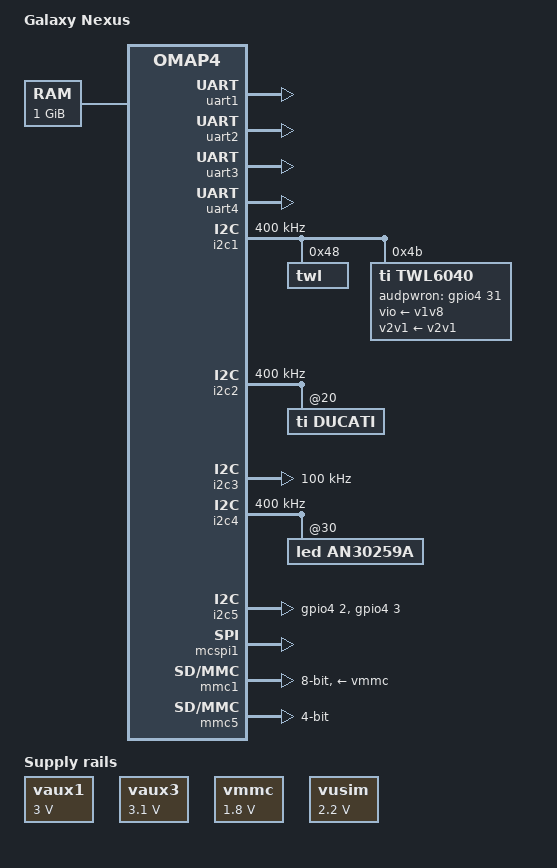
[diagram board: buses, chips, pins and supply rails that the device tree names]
/*
 * Copyright (C) 2011 Texas Instruments Incorporated - http://www.ti.com/
 *
 * This program is free software; you can redistribute it and/or modify
 * it under the terms of the GNU General Public License version 2 as
 * published by the Free Software Foundation.
 */
/dts-v1/;

/include/ "omap4460.dtsi"
/include/ "samsung_k3pe7e700m.dtsi"

/ {
	model = "Galaxy Nexus";
	compatible = "ti,tuna", "ti,omap4430", "ti,omap4";

	memory {
		device_type = "memory";
		reg = <0x80000000 0x40000000>; /* 1 GB */
	};

        chosen {
                bootargs = "console=ttyO2 androidboot.console=ttyO2 androidboot.hardware=tuna mem=1G vmalloc=768M omap_wdt.timer_margin=30 no_console_suspend earlyprintk debug initcall_debug";
	};

	sound {
		compatible = "ti,abe-twl6040";
		ti,model = "SDP4430";

		ti,jack-detection = <1>;
		ti,mclk-freq = <38400000>;

		ti,mcpdm = <&mcpdm>;
		ti,dmic = <&dmic>;

		ti,twl6040 = <&twl6040>;

		/* Audio routing */
		ti,audio-routing =
			"Headset Stereophone", "HSOL",
			"Headset Stereophone", "HSOR",
			"Earphone Spk", "EP",
			"Ext Spk", "HFL",
			"Ext Spk", "HFR",
			"Line Out", "AUXL",
			"Line Out", "AUXR",
			"Vibrator", "VIBRAL",
			"Vibrator", "VIBRAR",
			"HSMIC", "Headset Mic",
			"Headset Mic", "Headset Mic Bias",
			"MAINMIC", "Main Handset Mic",
			"Main Handset Mic", "Main Mic Bias",
			"SUBMIC", "Sub Handset Mic",
			"Sub Handset Mic", "Main Mic Bias",
			"AFML", "Line In",
			"AFMR", "Line In",
			"DMic", "Digital Mic",
			"Digital Mic", "Digital Mic1 Bias";
	};
};

&omap4_pmx_wkup {
	pinctrl-names = "default";
	pinctrl-0 = <
			&twl6030_wkup_pins
	>;

	twl6030_wkup_pins: pinmux_twl6030_wkup_pins {
		pinctrl-single,pins = <
			0x14 0x2        /* fref_clk0_out.sys_drm_msecure OUTPUT | MODE2 */
		>;
	};
};

&omap4_pmx_core {
	pinctrl-names = "default";
	pinctrl-0 = <
			&twl6030_pins
			&twl6040_pins
			&mcpdm_pins
			&dmic_pins
			&mcbsp1_pins
			&dss_hdmi_pins
	>;

	twl6030_pins: pinmux_twl6030_pins {
		pinctrl-single,pins = <
			0x15e 0x4118	/* sys_nirq1.sys_nirq1 OMAP_WAKEUP_EN | INPUT_PULLUP | MODE0 */
		>;
	};

	twl6040_pins: pinmux_twl6040_pins {
		pinctrl-single,pins = <
			0xe0 0x3	/* hdq_sio.gpio_127 OUTPUT | MODE3 */
			0x160 0x100	/* sys_nirq2.sys_nirq2 INPUT | MODE0 */
		>;
	};

	mcpdm_pins: pinmux_mcpdm_pins {
		pinctrl-single,pins = <
			0xc6 0x108	/* abe_pdm_ul_data.abe_pdm_ul_data INPUT PULLDOWN | MODE0 */
			0xc8 0x108	/* abe_pdm_dl_data.abe_pdm_dl_data INPUT PULLDOWN | MODE0 */
			0xca 0x118	/* abe_pdm_frame.abe_pdm_frame INPUT PULLUP | MODE0 */
			0xcc 0x108	/* abe_pdm_lb_clk.abe_pdm_lb_clk INPUT PULLDOWN | MODE0 */
			0xce 0x108	/* abe_clks.abe_clks INPUT PULLDOWN | MODE0 */
		>;
	};

	dmic_pins: pinmux_dmic_pins {
		pinctrl-single,pins = <
			0xd0 0		/* abe_dmic_clk1.abe_dmic_clk1 OUTPUT | MODE0 */
			0xd2 0x100	/* abe_dmic_din1.abe_dmic_din1 INPUT | MODE0 */
			0xd4 0x100	/* abe_dmic_din2.abe_dmic_din2 INPUT | MODE0 */
			0xd6 0x100	/* abe_dmic_din3.abe_dmic_din3 INPUT | MODE0 */
		>;
	};

	mcbsp1_pins: pinmux_mcbsp1_pins {
		pinctrl-single,pins = <
			0xbe 0x100	/* abe_mcbsp1_clkx.abe_mcbsp1_clkx INPUT | MODE0 */
			0xc0 0x108	/* abe_mcbsp1_dr.abe_mcbsp1_dr INPUT PULLDOWN | MODE0 */
			0xc2 0x8	/* abe_mcbsp1_dx.abe_mcbsp1_dx OUTPUT PULLDOWN | MODE0 */
			0xc4 0x100	/* abe_mcbsp1_fsx.abe_mcbsp1_fsx INPUT | MODE0 */
		>;
	};

	dss_hdmi_pins: pinmux_dss_hdmi_pins {
		pinctrl-single,pins = <
			0x5a 0x118	/* hdmi_cec.hdmi_cec INPUT PULLUP | MODE 0 */
			0x5c 0x118	/* hdmi_scl.hdmi_scl INPUT PULLUP | MODE 0 */
			0x5e 0x118	/* hdmi_sda.hdmi_sda INPUT PULLUP | MODE 0 */
		>;
	};

	mcspi1_pins: pinmux_mcspi1_pins {
		pinctrl-single,pins = <
			0xf2 0x100	/*  mcspi1_clk.mcspi1_clk INPUT | MODE0 */
			0xf4 0x100	/*  mcspi1_somi.mcspi1_somi INPUT | MODE0 */
			0xf6 0x100	/*  mcspi1_simo.mcspi1_simo INPUT | MODE0 */
			0xf8 0x100	/*  mcspi1_cs0.mcspi1_cs0 INPUT | MODE0*/
		>;
	};

	i2c1_pins: pinmux_i2c1_pins {
		pinctrl-single,pins = <
			0xe2 0x118        /* i2c1_scl PULLUP | INPUTENABLE | MODE0 */
			0xe4 0x118       /* i2c1_sda PULLUP | INPUTENABLE | MODE0 */
		>;
	};

	i2c2_pins: pinmux_i2c2_pins {
		pinctrl-single,pins = <
                        0xe6 0x118        /* i2c2_scl PULLUP | INPUTENABLE | MODE0 */
                        0xe8 0x118        /* i2c2_sda PULLUP | INPUTENABLE | MODE0 */
		>;
	};

	i2c3_pins: pinmux_i2c3_pins {
		pinctrl-single,pins = <
			0xea 0x118        /* i2c3_scl PULLUP | INPUTENABLE | MODE0 */
			0xec 0x118     /* i2c3_sda PULLUP | INPUTENABLE | MODE0 */
		>;
	};

	i2c4_pins: pinmux_i2c4_pins {
		pinctrl-single,pins = <
			0xee 0x118        /* i2c4_scl PULLUP | INPUTENABLE | MODE0 */
			0xf0 0x118     /* i2c4_sda PULLUP | INPUTENABLE | MODE0 */
		>;
	};

	uart3_pins: pinmux_uart3_pins {
		pinctrl-single,pins = <
			0x106 0x110    /* uart3_rx INPUTENABLE | MODE0 */
			0x108 0x0      /* uart3_tx OUTPUT | MODE0 */
		>;
	};
};

&uart1 {
	status = "okay";
	/*pinctrl-names = "default";
	pinctrl-0 = <&uart1_pins>;*/

	wakeup-capable = <1>;
};

&uart2 {
	status = "okay";
	/*pinctrl-names = "default";
	pinctrl-0 = <&uart2_pins>;*/
};
	
&uart3 {
	status = "okay";
	pinctrl-names = "default";
	pinctrl-0 = <&uart3_pins>;

	wakeup-capable = <1>;
};

&uart4 {
	status = "okay";
	/*pinctrl-names = "default";
	pinctrl-0 = <&uart4_pins>;*/
};

&i2c1 {
	pinctrl-names = "default";
	pinctrl-0 = <&i2c1_pins>;

	clock-frequency = <400000>;

	twl: twl@48 {
		reg = <0x48>;
		/* SPI = 0, IRQ# = 7, 4 = active high level-sensitive */
		interrupts = <0 7 4>; /* IRQ_SYS_1N cascaded to gic */
		interrupt-parent = <&gic>;
	};

	twl6040: twl@4b {
		compatible = "ti,twl6040";
		reg = <0x4b>;
		/* SPI = 0, IRQ# = 119, 4 = active high level-sensitive */
		interrupts = <0 119 4>; /* IRQ_SYS_2N cascaded to gic */
		interrupt-parent = <&gic>;
		ti,audpwron-gpio = <&gpio4 31 0>;  /* gpio line 127 */

		vio-supply = <&v1v8>;
		v2v1-supply = <&v2v1>;
		enable-active-high;
	};
};

&i2c2 {
	pinctrl-names = "default";
	pinctrl-0 = <&i2c2_pins>;

	clock-frequency = <400000>;
	
	ducati@20 {
		compatible = "ti,ducati";
		ext-master = <1>;
	};	
};

&i2c3 {
	pinctrl-names = "default";
	pinctrl-0 = <&i2c3_pins>;

	clock-frequency = <100000>;
};

&i2c4 {
	pinctrl-names = "default";
	pinctrl-0 = <&i2c4_pins>;

	clock-frequency = <400000>;
	
	an30259a@30 {
		compatible = "led,an30259a";
	};	
};

&i2c5 {
	status = "ok";
	gpios = <&gpio4 2 0 /* sda - gpio line 98 */
		 &gpio4 3 0 /* scl - gpio line 99 */
		>;
	i2c-gpio,sda-open-drain;
	i2c-gpio,scl-open-drain;
	udelay = <3>;
	#address-cells = <1>;
	#size-cells = <0>;
};


/include/ "twl6030.dtsi"

&twl {
	clk32kaudio: regulator-clk32kaudio {
		compatible = "ti,twl6030-clk32kaudio";
	};
};

&vaux1 {
	regulator-min-microvolt = <3000000>;
	regulator-always-on;
};

&vaux2 {
	regulator-state-mem {
		regulator-off-in-suspend;
	};
};

&vaux3 {
	regulator-min-microvolt = <3100000>;
	regulator-max-microvolt = <3100000>;
};

&vmmc {
	regulator-min-microvolt = <1800000>;
	regulator-max-microvolt = <1800000>;
};

&vusim {
	regulator-min-microvolt = <2200000>;
	regulator-max-microvolt = <2200000>;
};

&vana {
	regulator-always-on;
};

&vusb {
	regulator-state-mem {
		regulator-off-in-suspend;
	};
};

&mcspi1 {
	status = "ok";
	pinctrl-names = "default";
	pinctrl-0 = <&mcspi1_pins>;
	
	ti,tuna-pinswap = <1>;
};

&mcspi2 {
	status = "disabled";
};

&mcspi3 {
	status = "disabled";
};

&mcspi4 {
	status = "disabled";
};

&mmc1 {
	vmmc-supply = <&vmmc>;
	bus-width = <8>;
};

&mmc2 {
	status = "disabled";
};

&mmc3 {
	status = "disabled";
};

&mmc4 {
	status = "disabled";
};

&mmc5 {
	bus-width = <4>;
	ti,non-removable;
};

&emif1 {
	cs1-used;
	device-handle = <&samsung_K3PE7E700M>;
};

&emif2 {
	cs1-used;
	device-handle = <&samsung_K3PE7E700M>;
};

&mcbsp2 {
	status = "disabled";
};

&mcbsp3 {
	status = "disabled";
};

&twl_usb_comparator {
	usb-supply = <&vusb>;
};

&usb_otg_hs {
	interface-type = <1>;
	mode = <3>;
	power = <50>;
};
